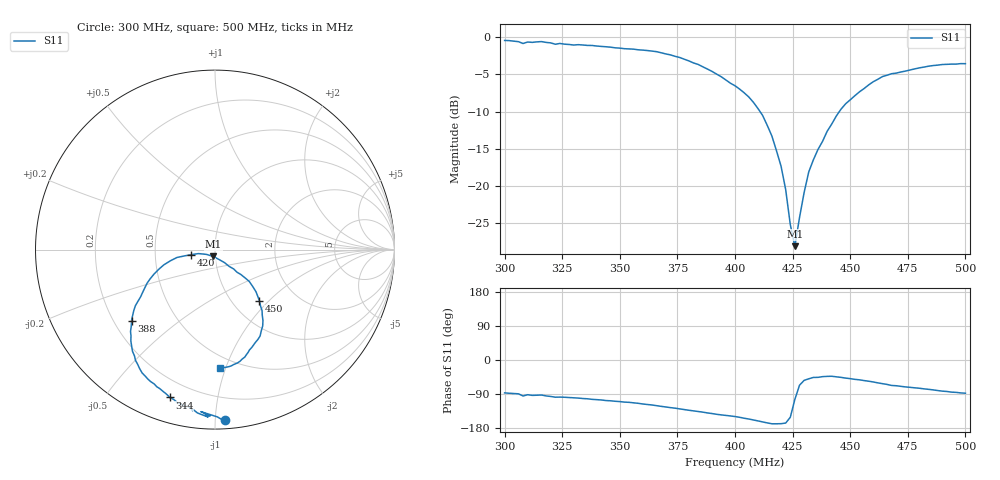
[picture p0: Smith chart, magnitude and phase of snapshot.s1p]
! Copper dipole approx 160mm each arm, existing SOL calibration enabled, short repaired feed
# Hz S RI R 50
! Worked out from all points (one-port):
!   101 points, 300 MHz to 500 MHz, reference 50 ohm
!   lowest |S11| = -28.1 dB at 426 MHz (marker M1), VSWR 1.08, Z = 48.9 - j3.75 ohm
!   |S11| at or under -10 dB: 410.8 MHz to 445.3 MHz (34.46 MHz wide, 8.05 % of centre)
!   S11 on the Smith chart (normalised r, x): 300 MHz: 0.05, -1.06; 344 MHz: 0.11, -0.73; 388 MHz: 0.27, -0.34; 420 MHz: 0.76, -0.04; 450 MHz: 1.32, -0.88; 500 MHz: 0.40, -0.96
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3e8  0.053 -0.9482
3.06e8  0.0129 -0.932
3.08e8  -0.0787 -0.9028
3.1e8  -0.0262 -0.9264
3.16e8  -0.0387 -0.9325
3.22e8  -0.1271 -0.8865
3.26e8  -0.1296 -0.8873
3.44e8  -0.2519 -0.8238
3.5e8  -0.2845 -0.7941
3.64e8  -0.3871 -0.7065
3.76e8  -0.4597 -0.5666
3.88e8  -0.4652 -0.3955
4e8  -0.4045 -0.2415
4.06e8  -0.3609 -0.1625
4.12e8  -0.2851 -0.085
4.16e8  -0.2122 -0.0439
4.2e8  -0.1326 -0.028
4.22e8  -0.0918 -0.0222
4.24e8  -0.0482 -0.0265
4.26e8  -0.00925 -0.0383
4.3e8  0.0534 -0.0728
4.32e8  0.0804 -0.0946
4.4e8  0.1698 -0.1595
4.5e8  0.2476 -0.2868
4.64e8  0.2512 -0.4814
4.76e8  0.1847 -0.5723
4.9e8  0.0893 -0.6484
5e8  0.0271 -0.6622
